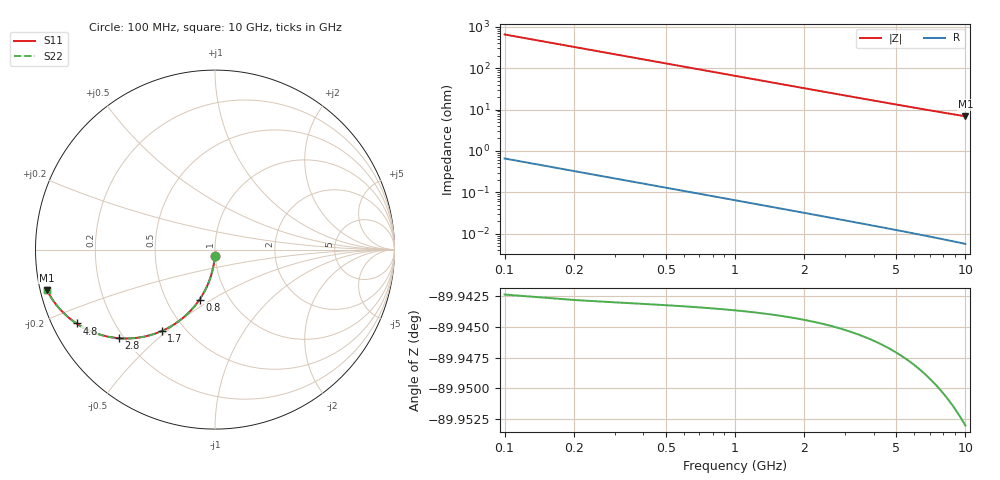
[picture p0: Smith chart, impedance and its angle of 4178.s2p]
# Hz S RI R 50.00
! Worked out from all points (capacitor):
!   100 points, 100 MHz to 10 GHz, reference 50 ohm
!   read as one part in shunt: C = 2.44 pF near 100 MHz
!   lowest |Z| = 6.87 ohm at 10 GHz (marker M1)
!   S11 on the Smith chart (normalised r, x): 100 MHz: 0.99, -0.08; 800 MHz: 0.73, -0.44; 1.7 GHz: 0.37, -0.48; 2.8 GHz: 0.18, -0.38; 4.8 GHz: 0.07, -0.25; 10 GHz: 0.02, -0.12
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1e8  -0.00146 -0.0381  0.9985 -0.0384  0.9985 -0.0384  -0.00146 -0.0381
2e8  -0.00587 -0.0758  0.994 -0.0765  0.994 -0.0765  -0.00587 -0.0758
3e8  -0.0131 -0.1129  0.9868 -0.1138  0.9868 -0.1138  -0.0131 -0.1129
4e8  -0.023 -0.149  0.9769 -0.1503  0.9769 -0.1503  -0.023 -0.149
5e8  -0.0355 -0.1839  0.9644 -0.1854  0.9644 -0.1854  -0.0355 -0.1839
6e8  -0.0503 -0.2172  0.9496 -0.2191  0.9496 -0.2191  -0.0503 -0.2172
8e8  -0.086 -0.2787  0.9139 -0.2812  0.9139 -0.2812  -0.086 -0.2787
1e9  -0.1281 -0.3322  0.8718 -0.3353  0.8718 -0.3353  -0.1281 -0.3322
1.2e9  -0.1745 -0.3772  0.8254 -0.381  0.8254 -0.381  -0.1745 -0.3772
1.4e9  -0.2234 -0.4138  0.7765 -0.4182  0.7765 -0.4182  -0.2234 -0.4138
1.7e9  -0.2977 -0.4541  0.7022 -0.4594  0.7022 -0.4594  -0.2977 -0.4541
1.8e9  -0.3221 -0.464  0.6778 -0.4696  0.6778 -0.4696  -0.3221 -0.464
2.3e9  -0.4367 -0.4918  0.5632 -0.4991  0.5632 -0.4991  -0.4367 -0.4918
2.8e9  -0.5346 -0.4939  0.4653 -0.5027  0.4653 -0.5027  -0.5346 -0.4939
3.4e9  -0.6287 -0.4772  0.3712 -0.488  0.3712 -0.488  -0.6287 -0.4772
4.1e9  -0.7112 -0.4461  0.2886 -0.4592  0.2886 -0.4592  -0.7112 -0.4461
4.8e9  -0.7715 -0.4116  0.2283 -0.427  0.2283 -0.427  -0.7715 -0.4116
5.1e9  -0.7922 -0.3969  0.2075 -0.4133  0.2075 -0.4133  -0.7922 -0.3969
5.8e9  -0.8315 -0.3643  0.1682 -0.383  0.1682 -0.383  -0.8315 -0.3643
6.7e9  -0.8684 -0.3265  0.1313 -0.3482  0.1313 -0.3482  -0.8684 -0.3265
8.4e9  -0.9125 -0.2679  0.0871 -0.2955  0.0871 -0.2955  -0.9125 -0.2679
1e10  -0.937 -0.2253  0.0624 -0.2585  0.0624 -0.2585  -0.937 -0.2253
